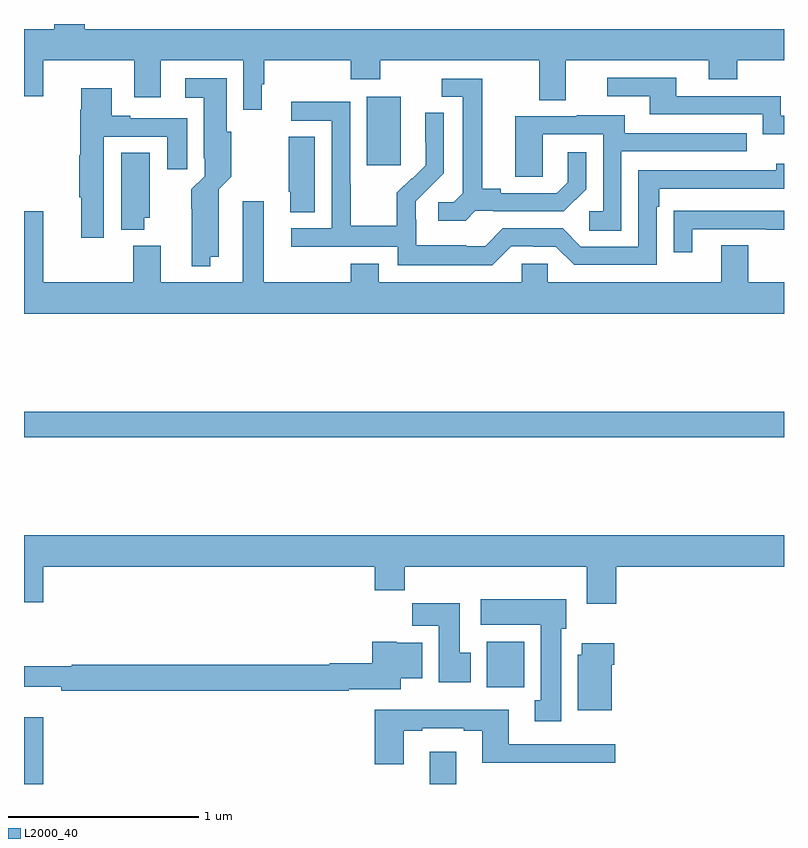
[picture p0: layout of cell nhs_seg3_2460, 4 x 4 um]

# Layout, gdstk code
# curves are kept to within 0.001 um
import gdstk
lib = gdstk.Library(unit=1e-6, precision=1e-09)
def R(c, l, rs):  # rectangles x0, y0, x1, y1
    for r in rs: c.add(gdstk.rectangle(r[:2], r[2:], *l))
def P(c, l, *ps):  # polygons
    for p in ps: c.add(gdstk.Polygon(p, *l))
L2000_40 = (2000, 40)

nhs_seg3_2460 = lib.new_cell('nhs_seg3_2460')
R(nhs_seg3_2460, L2000_40, [(237,738.4,237.1,738.751), (239.135,738.4,239.275,738.571), (239.435,738.908,239.632,739.15), (237,740.224,241,740.36), (238.805,741.657,238.984,742.018)])
P(nhs_seg3_2460, L2000_40, [(238.252,742.084),(238.264,742.084),(238.264,742.208),(238.72,742.208),(238.72,742.109),(238.875,742.109),(238.875,742.208),(239.711,742.208),(239.711,742),(239.851,742),(239.851,742.208),(240.605,742.208),(240.605,742.109),(240.753,742.109),(240.753,742.208),(241,742.208),(241,742.372),(237.32,742.372),(237.32,742.4),(237.16,742.4),(237.16,742.372),(237,742.372),(237,742.02),(237.1,742.02),(237.1,742.208),(237.581,742.208),(237.581,742.014),(237.721,742.014),(237.721,742.208),(238.155,742.208),(238.155,741.948),(238.252,741.948)],
  [(241,741.918),(240.984,741.918),(240.984,742.02),(240.433,742.02),(240.433,742.116),(240.069,742.116),(240.069,742.02),(240.293,742.02),(240.293,741.924),(240.888,741.924),(240.888,741.821),(241,741.821)],
  [(237.979,741.176),(238.024,741.176),(238.025,741.53),(238.092,741.597),(238.092,741.834),(238.066,741.834),(238.066,742.114),(237.849,742.114),(237.849,742.013),(237.947,742.013),(237.947,741.694),(237.951,741.694),(237.951,741.6),(237.881,741.53),(237.882,741.125),(237.979,741.125)],
  [(239.376,741.417),(239.47,741.417),(239.47,741.414),(239.842,741.414),(239.958,741.53),(239.958,741.724),(239.861,741.724),(239.861,741.567),(239.804,741.51),(239.509,741.51),(239.509,741.533),(239.413,741.533),(239.413,742.113),(239.199,742.113),(239.199,742.017),(239.309,742.017),(239.309,741.509),(239.262,741.462),(239.181,741.462),(239.181,741.365),(239.324,741.365)],
  [(237.421,741.807),(237.755,741.807),(237.755,741.636),(237.859,741.636),(237.859,741.903),(237.559,741.903),(237.559,741.916),(237.463,741.916),(237.463,742.063),(237.302,742.063),(237.302,741.95),(237.295,741.95),(237.295,741.71),(237.29,741.71),(237.29,741.488),(237.302,741.488),(237.302,741.276),(237.421,741.276)],
  [(239.565,741.231),(239.681,741.231),(239.681,741.228),(239.799,741.228),(239.895,741.132),(240.33,741.132),(240.33,741.437),(240.343,741.437),(240.343,741.534),(241,741.534),(241,741.664),(240.959,741.664),(240.959,741.63),(240.234,741.63),(240.234,741.228),(239.931,741.228),(239.835,741.324),(239.52,741.324),(239.427,741.231),(239.327,741.231),(239.327,741.235),(239.064,741.235),(239.064,741.369),(239.062,741.369),(239.062,741.466),(239.208,741.614),(239.208,741.932),(239.112,741.932),(239.112,741.778),(239.114,741.778),(239.114,741.656),(239.043,741.585),(239.04,741.588),(238.963,741.511),(238.963,741.337),(238.719,741.337),(238.719,741.56),(238.716,741.56),(238.716,741.99),(238.407,741.99),(238.407,741.891),(238.62,741.891),(238.62,741.324),(238.407,741.324),(238.407,741.228),(238.968,741.228),(238.968,741.131),(239.465,741.131)],
  [(240.144,741.729),(240.803,741.729),(240.803,741.825),(240.163,741.825),(240.163,741.919),(239.909,741.919),(239.909,741.915),(239.585,741.915),(239.585,741.595),(239.73,741.595),(239.73,741.819),(240.048,741.819),(240.048,741.414),(239.976,741.414),(239.976,741.313),(240.144,741.313)],
  [(238.531,741.806),(238.393,741.806),(238.393,741.517),(238.4,741.517),(238.4,741.409),(238.531,741.409)],
  [(237.634,741.381),(237.661,741.381),(237.661,741.722),(237.512,741.722),(237.512,741.317),(237.634,741.317)],
  [(241,741.04),(240.811,741.04),(240.811,741.235),(240.671,741.235),(240.671,741.04),(239.757,741.04),(239.757,741.138),(239.619,741.138),(239.619,741.04),(238.867,741.04),(238.867,741.139),(238.72,741.139),(238.72,741.04),(238.261,741.04),(238.261,741.466),(238.151,741.466),(238.151,741.04),(237.721,741.04),(237.721,741.232),(237.574,741.232),(237.574,741.04),(237.1,741.04),(237.1,741.415),(237,741.415),(237,740.876),(241,740.876)],
  [(240.517,741.321),(240.907,741.321),(240.907,741.316),(241,741.316),(241,741.417),(240.523,741.417),(240.523,741.416),(240.421,741.416),(240.421,741.198),(240.517,741.198)],
  [(240.116,739.544),(241,739.544),(241,739.708),(237,739.708),(237,739.356),(237.1,739.356),(237.1,739.544),(238.847,739.544),(238.847,739.42),(239.003,739.42),(239.003,739.544),(239.963,739.544),(239.963,739.35),(240.116,739.35)],
  [(239.827,739.218),(239.854,739.218),(239.854,739.372),(239.403,739.372),(239.403,739.238),(239.72,739.238),(239.72,738.842),(239.687,738.842),(239.687,738.729),(239.827,738.729)],
  [(239.35,739.092),(239.293,739.092),(239.293,739.351),(239.044,739.351),(239.044,739.232),(239.183,739.232),(239.183,738.936),(239.35,738.936)],
  [(238.708,738.899),(238.984,738.899),(238.984,738.956),(239.095,738.956),(239.095,739.144),(238.962,739.144),(238.962,739.15),(238.832,739.15),(238.832,739.036),(238.608,739.036),(238.608,739.028),(237.251,739.028),(237.251,739.021),(237,739.021),(237,738.911),(237.196,738.911),(237.196,738.892),(238.708,738.892)],
  [(240.094,739.028),(240.107,739.028),(240.107,739.141),(239.936,739.141),(239.936,739.08),(239.915,739.08),(239.915,738.788),(240.094,738.788)],
  [(238.999,738.681),(239.095,738.681),(239.095,738.693),(239.315,738.693),(239.315,738.681),(239.411,738.681),(239.411,738.512),(240.112,738.512),(240.112,738.609),(239.551,738.609),(239.551,738.79),(238.847,738.79),(238.847,738.504),(238.999,738.504)])

lib.write_gds('nhs_seg3_2460.gds')
